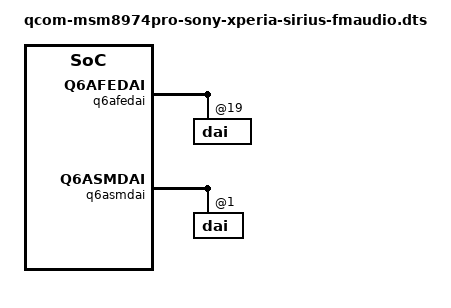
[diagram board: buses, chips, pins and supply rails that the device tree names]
// SPDX-License-Identifier: GPL-2.0
/*
 * Sony Xperia Z2 (sirius): FM radio audio, experimental.
 *
 * The FM tuner is in the Broadcom BCM4335C0 Bluetooth chip. Its I2S leaves on
 * the chip's PCM pads, which Sony's tree wires to the SoC's secondary MI2S
 * pads: gpio79 bit clock, gpio80 word select, gpio81 data into the SoC
 * (Sony's `qcom,sec-auxpcm-gpio-clk/sync/din`). Measured 2026-09-13 with the
 * chip's Write_PCM_Pins command (0xFC61) and the pads released: as I2S master
 * the chip drives bit clock at 1.53 MHz, word select at 47.8 kHz and data; as
 * slave it sends no data even with LPASS clocking it. So sirius-fmd switches
 * the chip to I2S master when audio is turned on, and the machine driver
 * makes LPASS the clock consumer on this codec-less back end.
 *
 * Capture needs:
 *
 *   - SECONDARY_MI2S_TX as a back end without a codec. The msm8974 machine
 *     driver makes a link that names a platform but no codec a back end
 *     (drivers-wip/msm8974-sndcard-fm-backend.diff).
 *   - a front end of its own. A q6asm session serves one direction at a time
 *     and q6routing keeps one route per front end, and MultiMedia1 is held
 *     open for speaker playback, so FM capture uses MultiMedia2.
 *
 * The internal FM port link (INT_FM_TX, patch 0014) was the first attempt,
 * following Sony's mixer paths. It captures only zeros; it stays until the
 * secondary MI2S route is proven, then goes.
 *
 * Fold this into the board file once FM audio has been heard, then delete
 * this file.
 */

#include "qcom-msm8974pro-sony-xperia-shinano-sirius.dts"

&q6afedai {
	dai@19 {
		reg = <SECONDARY_MI2S_TX>;
		qcom,sd-lines = <0>;
	};
};

&q6asmdai {
	dai@1 {
		reg = <MSM_FRONTEND_DAI_MULTIMEDIA2>;
		direction = <Q6ASM_DAI_TX>;
	};
};

&sound {
	pinctrl-0 = <&quat_mi2s_default>, <&sec_mi2s_default>;

	/*
	 * INT_FM_TX is index 137 in qcom,q6dsp-lpass-ports.h once patch 0014
	 * is applied; written numerically so this tree builds without it.
	 */
	int-fm-dai-link {
		link-name = "Internal FM Capture";

		cpu {
			sound-dai = <&q6afedai 137>;
		};

		platform {
			sound-dai = <&q6routing>;
		};
	};

	mm2-dai-link {
		link-name = "MultiMedia2";

		cpu {
			sound-dai = <&q6asmdai MSM_FRONTEND_DAI_MULTIMEDIA2>;
		};
	};

	sec-mi2s-dai-link {
		link-name = "Secondary MI2S Capture";

		cpu {
			sound-dai = <&q6afedai SECONDARY_MI2S_TX>;
		};

		platform {
			sound-dai = <&q6routing>;
		};
	};
};

&tlmm {
	sec_mi2s_default: sec-mi2s-default-state {
		pins = "gpio79", "gpio80", "gpio81";
		function = "sec_mi2s";
		drive-strength = <8>;
		bias-disable;
	};
};
